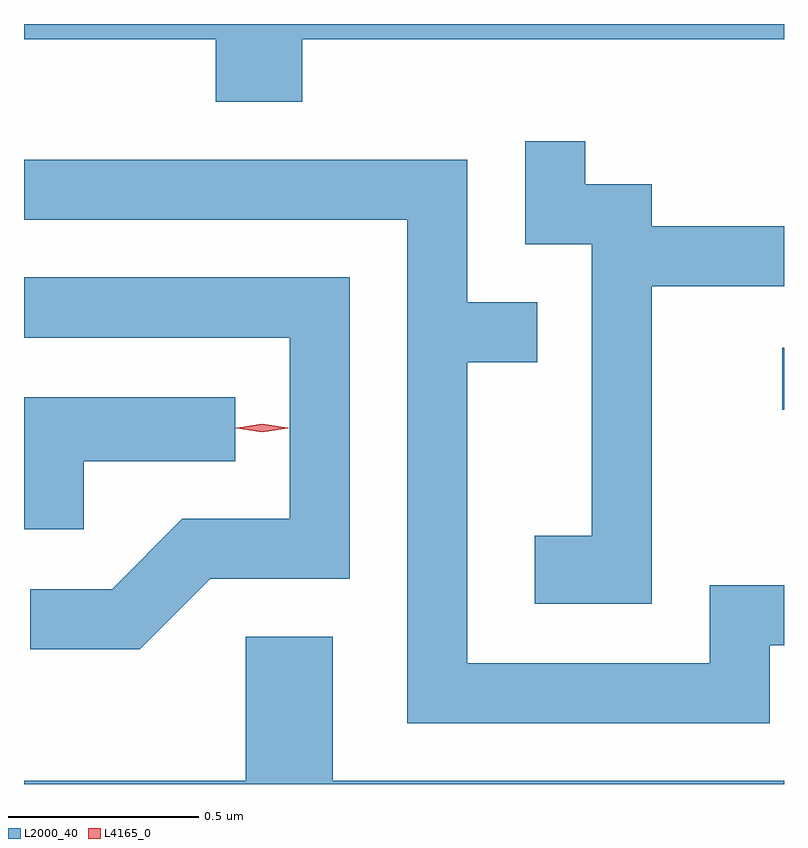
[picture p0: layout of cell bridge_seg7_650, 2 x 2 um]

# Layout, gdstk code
import gdstk
lib = gdstk.Library(unit=1e-6, precision=1e-09)
def R(c, l, rs):  # rectangles x0, y0, x1, y1
    for r in rs: c.add(gdstk.rectangle(r[:2], r[2:], *l))
def P(c, l, *ps):  # polygons
    for p in ps: c.add(gdstk.Polygon(p, *l))
L2000_40 = (2000, 40)
L4165_0 = (4165, 0)

bridge_seg7_650 = lib.new_cell('bridge_seg7_650')
R(bridge_seg7_650, L2000_40, [(804.183,1695.581,804.187,1695.744)])
P(bridge_seg7_650, L2000_40, [(802.919,1696.556),(804.187,1696.556),(804.187,1696.596),(802.187,1696.596),(802.187,1696.556),(802.691,1696.556),(802.691,1696.391),(802.919,1696.391)],
  [(803.839,1695.906),(804.187,1695.906),(804.187,1696.064),(803.839,1696.064),(803.839,1696.174),(803.664,1696.174),(803.664,1696.288),(803.506,1696.288),(803.506,1696.016),(803.681,1696.016),(803.681,1695.249),(803.531,1695.249),(803.531,1695.071),(803.839,1695.071)],
  [(804.149,1694.961),(804.187,1694.961),(804.187,1695.119),(803.991,1695.119),(803.991,1694.914),(803.354,1694.914),(803.354,1695.706),(803.538,1695.706),(803.538,1695.864),(803.354,1695.864),(803.354,1696.239),(802.187,1696.239),(802.187,1696.081),(803.196,1696.081),(803.196,1694.756),(804.149,1694.756)],
  [(802.677,1695.136),(803.044,1695.136),(803.044,1695.929),(802.187,1695.929),(802.187,1695.771),(802.886,1695.771),(802.886,1695.294),(802.604,1695.294),(802.419,1695.109),(802.203,1695.109),(802.203,1694.951),(802.492,1694.951)],
  [(802.344,1695.446),(802.743,1695.446),(802.743,1695.614),(802.187,1695.614),(802.187,1695.266),(802.344,1695.266)],
  [(804.187,1694.604),(802.999,1694.604),(802.999,1694.984),(802.771,1694.984),(802.771,1694.604),(802.187,1694.604),(802.187,1694.596),(804.187,1694.596)])
P(bridge_seg7_650, L4165_0, [(802.814,1695.522),(802.745,1695.532),(802.744,1695.532),(802.745,1695.533),(802.814,1695.542),(802.883,1695.533),(802.883,1695.532),(802.883,1695.532)],
  [(802.814,1695.524),(802.748,1695.533),(802.747,1695.534),(802.748,1695.534),(802.814,1695.544),(802.88,1695.534),(802.881,1695.534),(802.88,1695.533)])

lib.write_gds('bridge_seg7_650.gds')
